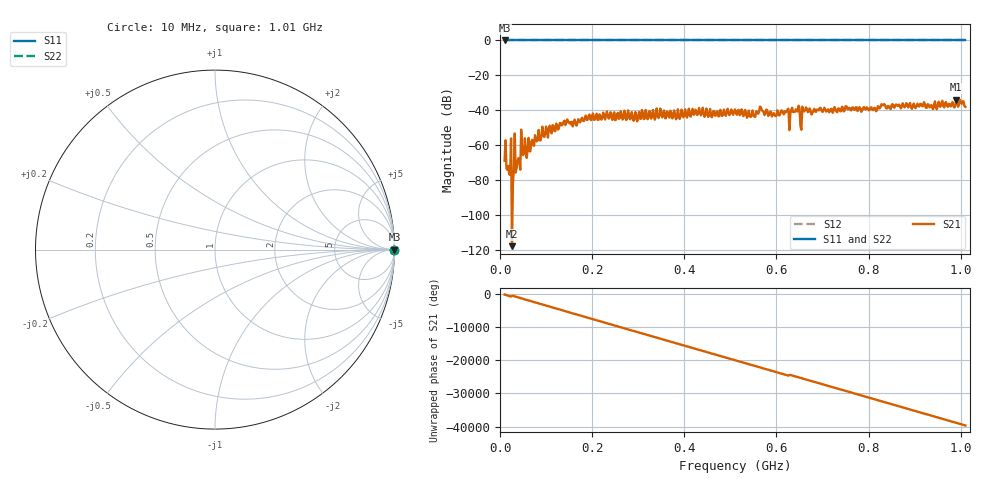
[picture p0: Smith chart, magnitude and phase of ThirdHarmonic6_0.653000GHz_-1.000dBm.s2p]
! 8/15/2025 9:40:55 PM
! C:\ANRITSUVNA\TEMP\TEMP.S2P
! CHANNEL.1
! TR.MEASUREMENT
! RAW.DATA
! RF.CORRECTION.OFF
! AVERAGING.OFF
! IF.BANDWIDTH: 5KHZ
! SWEEPTYPE:  FREQ.SWEEP(Linear)
! Reference Plane Port Info
! PORT:  PORT1  PORT2
! DISTANCE:  0  m  0  m
! TIME:  0  s  0  s
! PHASE.OFFSET:  0  deg.  0  deg.
! LOSS:  0  dB  0  dB
! REF.LOSS:  0  dB  0  dB
! REF.FREQ:  0  Hz  0  Hz
! Power Info
! POWER:  -20  dBm  -20  dBm
! EFF.POWER:  -20  dBm  -20  dBm
! SOURCE.ATTEN:  0  dB  0  dB
! TEST.ATTEN:  0  dB  0  dB
# GHZ S RI R 50.0
! FREQ.GHZ  S11RE  S11IM  S21RE  S21IM  S12RE  S12IM  S22RE  S22IM
!; PortSelection: Port_12
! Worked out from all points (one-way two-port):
!   501 points, 10 MHz to 1.01 GHz, reference 50 ohm
!   highest |S21| = -33.91 dB at 990 MHz (marker M1); lowest = -117.7 dB at 26 MHz (marker M2)
!   lowest |S11| = 0.0 dB at 10 MHz (marker M3)
!   |S11| at or under -10 dB: nowhere
!   |S22| runs from 0.0 to 0.0 dB; largest |S21 - S12| = 1
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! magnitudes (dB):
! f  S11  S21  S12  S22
! 10 MHz  0.0  -68.8  0.0  0.0
! 18 MHz  0.0  -71.8  0.0  0.0
! 20 MHz  0.0  -76.7  0.0  0.0
! 26 MHz  0.0  -117.7  0.0  0.0
! 28 MHz  0.0  -81.8  0.0  0.0
! 30 MHz  0.0  -73.5  0.0  0.0
! 36 MHz  0.0  -73.1  0.0  0.0
! 40 MHz  0.0  -67.3  0.0  0.0
! 50 MHz  0.0  -65.6  0.0  0.0
! 54 MHz  0.0  -56.0  0.0  0.0
! 96 MHz  0.0  -55.2  0.0  0.0
! 178 MHz  0.0  -44.2  0.0  0.0
! 344 MHz  0.0  -44.4  0.0  0.0
! 510 MHz  0.0  -39.4  0.0  0.0
! 632 MHz  0.0  -39.8  0.0  0.0
! 646 MHz  0.0  -40.7  0.0  0.0
! 656 MHz  0.0  -37.9  0.0  0.0
! 660 MHz  0.0  -40.6  0.0  0.0
! 678 MHz  0.0  -41.5  0.0  0.0
! 844 MHz  0.0  -37.7  0.0  0.0
! 990 MHz  0.0  -33.9  0.0  0.0
! 1.01 GHz  0.0  -38.0  0.0  0.0
